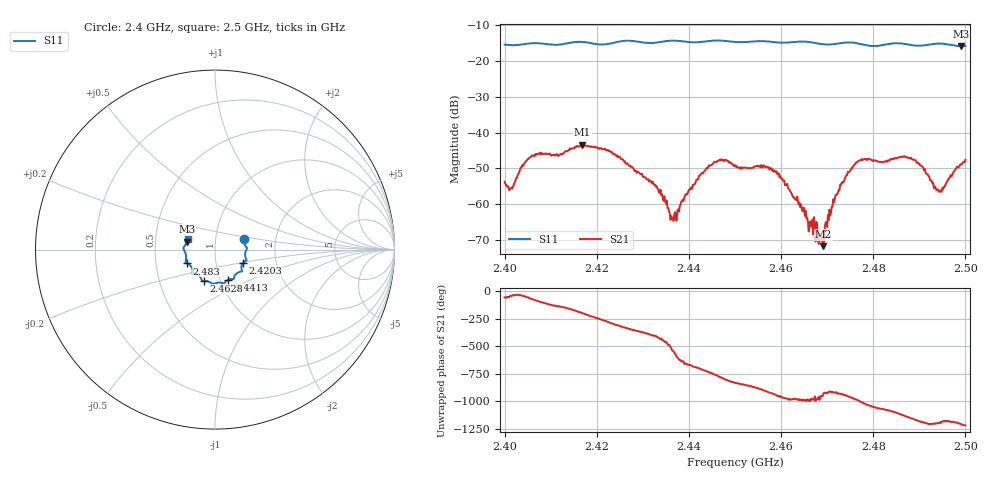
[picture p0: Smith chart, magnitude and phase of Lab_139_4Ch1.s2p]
# Hz S RI R 50
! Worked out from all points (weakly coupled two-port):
!   601 points, 2.4 GHz to 2.5 GHz, reference 50 ohm
!   highest |S21| = -43.44 dB at 2.4168 GHz (marker M1); lowest = -71.9 dB at 2.4692 GHz (marker M2)
!   lowest |S11| = -15.8 dB at 2.499 GHz (marker M3), VSWR 1.39, Z = 36.4 + j3.37 ohm
!   |S11| at or under -10 dB: start of sweep to end of sweep
!   S12 and S22 are empty: the file has one direction only
!   S11 on the Smith chart (normalised r, x): 2.4 GHz: 1.37, +0.16; 2.4203 GHz: 1.35, -0.21; 2.4413 GHz: 1.09, -0.38; 2.4628 GHz: 0.83, -0.30; 2.483 GHz: 0.72, -0.11; 2.5 GHz: 0.73, +0.09
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2.4e9  0.1608 0.0571  0.0011 -0.00173  0 0  0 0
2.4015e9  0.1625 0.0406  0.00121 -0.00118  0 0  0 0
2.405833e9  0.1776 0.0104  0.00145 -0.00439  0 0  0 0
2.416667e9  0.1761 -0.0612  -0.00624 0.00187  0 0  0 0
2.416833e9  0.1758 -0.0616  -0.00635 0.00223  0 0  0 0
2.420333e9  0.1553 -0.0739  -0.0021 0.00572  0 0  0 0
2.433333e9  0.1081 -0.1484  0.000716 -0.00143  0 0  0 0
2.436833e9  0.1035 -0.164  -0.00068 0.000228  0 0  0 0
2.441333e9  0.0745 -0.1681  0.00165 0.00094  0 0  0 0
2.446e9  0.0498 -0.1884  0.00274 -0.00268  0 0  0 0
2.45e9  0.0294 -0.1838  -0.00128 -0.00308  0 0  0 0
2.457667e9  -0.0204 -0.1861  -0.00289 0.00128  0 0  0 0
2.462833e9  -0.0629 -0.1749  -0.00016 0.00122  0 0  0 0
2.466667e9  -0.0742 -0.1676  -5.01e-05 0.000485  0 0  0 0
2.469167e9  -0.0855 -0.1497  -0.000214 0.000138  0 0  0 0
2.475833e9  -0.1252 -0.131  -0.000819 0.00338  0 0  0 0
2.483e9  -0.1549 -0.0769  0.00388 5.08e-05  0 0  0 0
2.483333e9  -0.1569 -0.0759  0.00404 -0.0001  0 0  0 0
2.488667e9  -0.1605 -0.045  0.000793 -0.0041  0 0  0 0
2.494333e9  -0.1764 0.00767  -0.000646 -0.00132  0 0  0 0
2.499e9  -0.1555 0.0451  -0.00208 -0.00291  0 0  0 0
2.5e9  -0.1524 0.0584  -0.00311 -0.00271  0 0  0 0
